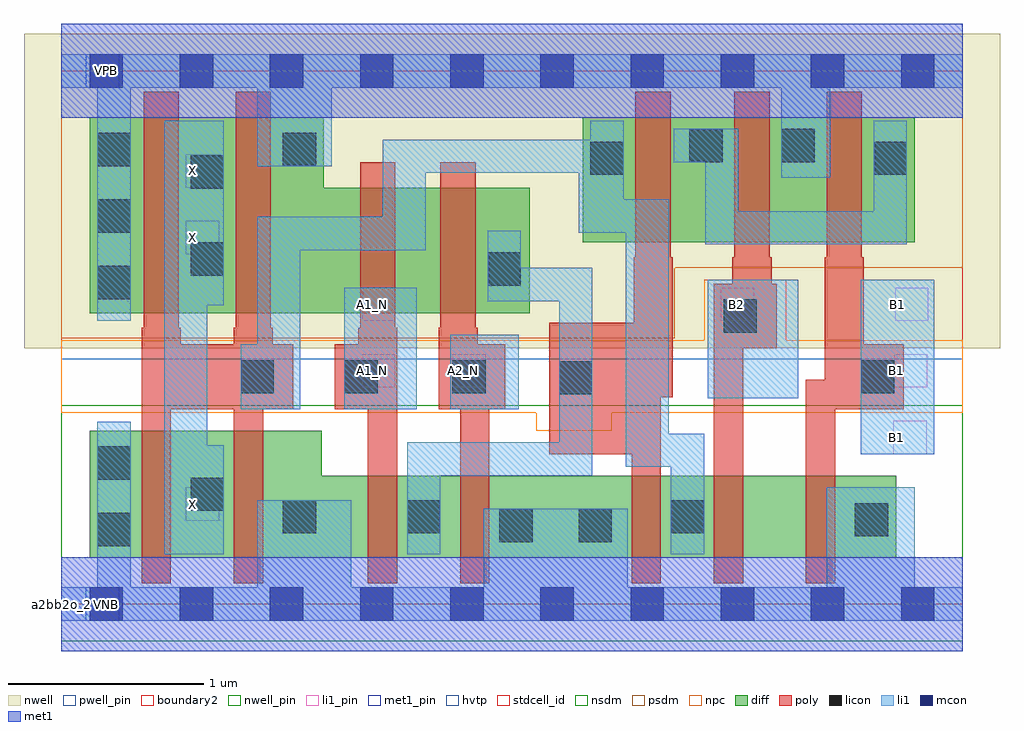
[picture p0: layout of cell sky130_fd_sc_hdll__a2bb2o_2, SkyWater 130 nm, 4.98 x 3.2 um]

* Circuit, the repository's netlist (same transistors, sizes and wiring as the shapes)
* Copyright 2020 The SkyWater PDK Authors
*
* Licensed under the Apache License, Version 2.0 (the "License");
* you may not use this file except in compliance with the License.
* You may obtain a copy of the License at
*
*     https://www.apache.org/licenses/LICENSE-2.0
*
* Unless required by applicable law or agreed to in writing, software
* distributed under the License is distributed on an "AS IS" BASIS,
* WITHOUT WARRANTIES OR CONDITIONS OF ANY KIND, either express or implied.
* See the License for the specific language governing permissions and
* limitations under the License.
*
* SPDX-License-Identifier: Apache-2.0

.SUBCKT sky130_fd_sc_hdll__a2bb2o_2 A1_N A2_N B1 B2 VGND VNB VPB VPWR X
*.PININFO A1_N:I A2_N:I B1:I B2:I VGND:I VNB:I VPB:I VPWR:I X:O
MMIN2 X y VGND VNB sky130_fd_pr__nfet_01v8 m=2 w=0.65U l=0.15U mult=1 sa=0.265
+ sb=0.265 sd=0.28 area=0.063 perim=1.14
MMNnor0 inor A1_N VGND VNB sky130_fd_pr__nfet_01v8 m=1 w=0.42U l=0.15U mult=1 sa=0.265
+ sb=0.265 sd=0.28 area=0.063 perim=1.14
MMNnor1 inor A2_N VGND VNB sky130_fd_pr__nfet_01v8 m=1 w=0.42U l=0.15U mult=1 sa=0.265
+ sb=0.265 sd=0.28 area=0.063 perim=1.14
MMNaoi10 VGND B1 sndNB1 VNB sky130_fd_pr__nfet_01v8 m=1 w=0.42U l=0.15U mult=1
+ sa=0.265 sb=0.265 sd=0.28 area=0.063 perim=1.14
MMNaoi11 sndNB1 B2 y VNB sky130_fd_pr__nfet_01v8 m=1 w=0.42U l=0.15U mult=1 sa=0.265
+ sb=0.265 sd=0.28 area=0.063 perim=1.14
MMNaoi20 y inor VGND VNB sky130_fd_pr__nfet_01v8 m=1 w=0.42U l=0.15U mult=1 sa=0.265
+ sb=0.265 sd=0.28 area=0.063 perim=1.14
MMPaoi20 y inor pmid VPB sky130_fd_pr__pfet_01v8_hvt m=1 w=0.64U l=0.18U mult=1
+ sa=0.265 sb=0.265 sd=0.28 area=0.063 perim=1.14
MMIP2 X y VPWR VPB sky130_fd_pr__pfet_01v8_hvt m=2 w=1.0U l=0.18U mult=1 sa=0.265
+ sb=0.265 sd=0.28 area=0.063 perim=1.14
MMPnor0 VPWR A1_N sndPA1N VPB sky130_fd_pr__pfet_01v8_hvt m=1 w=0.64U l=0.18U mult=1
+ sa=0.265 sb=0.265 sd=0.28 area=0.063 perim=1.14
MMPnor1 sndPA1N A2_N inor VPB sky130_fd_pr__pfet_01v8_hvt m=1 w=0.64U l=0.18U mult=1
+ sa=0.265 sb=0.265 sd=0.28 area=0.063 perim=1.14
MMPaoi10 pmid B1 VPWR VPB sky130_fd_pr__pfet_01v8_hvt m=1 w=0.64U l=0.18U mult=1
+ sa=0.265 sb=0.265 sd=0.28 area=0.063 perim=1.14
MMPaoi11 pmid B2 VPWR VPB sky130_fd_pr__pfet_01v8_hvt m=1 w=0.64U l=0.18U mult=1
+ sa=0.265 sb=0.265 sd=0.28 area=0.063 perim=1.14
.ENDS sky130_fd_sc_hdll__a2bb2o_2

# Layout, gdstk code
import gdstk
lib = gdstk.Library(unit=1e-6, precision=1e-09)
def R(c, l, rs):  # rectangles x0, y0, x1, y1
    for r in rs: c.add(gdstk.rectangle(r[:2], r[2:], *l))
def A(c, l, x, y, w, h, nx, ny, dx, dy):  # array of equal rectangles
    R(c, l, [(x+i*dx, y+j*dy, x+i*dx+w, y+j*dy+h) for i in range(nx) for j in range(ny)])
def P(c, l, *ps):  # polygons
    for p in ps: c.add(gdstk.Polygon(p, *l))
nwell_pin = (64, 16)
nwell = (64, 20)
diff = (65, 20)
poly = (66, 20)
licon = (66, 44)
li1_pin = (67, 16)
li1 = (67, 20)
mcon = (67, 44)
met1_pin = (68, 16)
met1 = (68, 20)
hvtp = (78, 44)
stdcell_id = (81, 4)
nsdm = (93, 44)
psdm = (94, 20)
npc = (95, 20)
pwell_pin = (122, 16)
boundary2 = (236, 0)

sky130_fd_sc_hdll__a2bb2 = lib.new_cell('sky130_fd_sc_hdll__a2bb2o_2')
R(sky130_fd_sc_hdll__a2bb2, nwell_pin, [(0.125,2.635,0.295,2.805)])
R(sky130_fd_sc_hdll__a2bb2, nwell, [(-0.19,1.305,4.79,2.91)])
R(sky130_fd_sc_hdll__a2bb2, diff, [(2.66,1.845,4.355,2.485)])
P(sky130_fd_sc_hdll__a2bb2, diff, [(2.39,2.125),(1.34,2.125),(1.34,2.485),(0.145,2.485),(0.145,1.485),(2.39,1.485)],
  [(4.26,0.655),(1.33,0.655),(1.33,0.885),(0.145,0.885),(0.145,0.235),(4.26,0.235)])
P(sky130_fd_sc_hdll__a2bb2, poly, [(1.185,1.325),(1.08,1.325),(1.08,1.41),(1.07,1.41),(1.07,2.615),(0.89,2.615),(0.89,1.41),(0.88,1.41),(0.88,1.325),(0.61,1.325),(0.61,1.41),(0.6,1.41),(0.6,2.615),(0.42,2.615),(0.42,1.41),(0.41,1.41),(0.41,0.105),(0.56,0.105),(0.56,0.995),(0.88,0.995),(0.88,0.105),(1.03,0.105),(1.03,0.995),(1.185,0.995)],
  [(1.715,1.41),(1.705,1.41),(1.705,2.255),(1.525,2.255),(1.525,1.41),(1.515,1.41),(1.515,1.325),(1.395,1.325),(1.395,0.995),(1.565,0.995),(1.565,0.105),(1.715,0.105)],
  [(2.265,1.325),(2.125,1.325),(2.125,1.41),(2.115,1.41),(2.115,2.255),(1.935,2.255),(1.935,1.41),(1.925,1.41),(1.925,0.995),(2.035,0.995),(2.035,0.105),(2.185,0.105),(2.185,0.995),(2.265,0.995)],
  [(3.12,1.77),(3.11,1.77),(3.11,2.615),(2.93,2.615),(2.93,1.77),(2.92,1.77),(2.92,1.435),(2.49,1.435),(2.49,0.765),(2.91,0.765),(2.91,0.105),(3.06,0.105),(3.06,1.055),(3.12,1.055)],
  [(3.65,1.635),(3.625,1.635),(3.625,1.77),(3.615,1.77),(3.615,2.615),(3.435,2.615),(3.435,1.77),(3.425,1.77),(3.425,1.635),(3.33,1.635),(3.33,0.105),(3.48,0.105),(3.48,1.305),(3.65,1.305)],
  [(4.3,1.325),(4.095,1.325),(4.095,1.77),(4.085,1.77),(4.085,2.615),(3.905,2.615),(3.905,1.77),(3.895,1.77),(3.895,1.145),(3.8,1.145),(3.8,0.105),(3.95,0.105),(3.95,0.995),(4.3,0.995)])
A(sky130_fd_sc_hdll__a2bb2, licon, 0.185, 1.555, 0.17, 0.17, 1, 3, 0, 0.34)
R(sky130_fd_sc_hdll__a2bb2, licon, [(0.185,0.295,0.355,0.465), (2.235,0.315,2.405,0.485), (2.64,0.315,2.81,0.485), (4.05,0.345,4.22,0.515), (1.13,0.36,1.3,0.53), (1.765,0.36,1.935,0.53), (3.11,0.36,3.28,0.53), (0.66,0.475,0.83,0.645), (0.185,0.635,0.355,0.805), (2.54,1.07,2.71,1.24), (0.915,1.075,1.085,1.245), (1.445,1.075,1.615,1.245), (1.995,1.075,2.165,1.245), (4.08,1.075,4.25,1.245), (3.38,1.385,3.55,1.555), (2.175,1.625,2.345,1.795), (0.66,1.675,0.83,1.845), (0.66,2.12,0.83,2.29), (2.7,2.19,2.87,2.36), (4.145,2.19,4.315,2.36), (1.13,2.235,1.3,2.405), (3.205,2.255,3.375,2.425), (3.675,2.255,3.845,2.425)])
R(sky130_fd_sc_hdll__a2bb2, li1_pin, [(0.125,-0.085,0.295,0.085), (0.635,0.425,0.805,0.595), (4.245,0.765,4.415,0.935), (1.535,1.105,1.705,1.275), (1.995,1.105,2.165,1.275), (4.25,1.105,4.42,1.275), (1.535,1.445,1.705,1.615), (3.365,1.445,3.535,1.615), (4.255,1.445,4.425,1.615), (0.635,1.785,0.805,1.955), (0.635,2.125,0.805,2.295), (0.125,2.635,0.295,2.805)])
R(sky130_fd_sc_hdll__a2bb2, li1, [(4.08,0.765,4.455,1.655), (1.445,0.995,1.815,1.615), (1.985,0.995,2.335,1.375), (3.3,1.05,3.76,1.655)])
P(sky130_fd_sc_hdll__a2bb2, li1, [(4.6,0.085),(4.355,0.085),(4.355,0.595),(3.905,0.595),(3.905,0.085),(2.89,0.085),(2.89,0.485),(2.155,0.485),(2.155,0.085),(1.48,0.085),(1.48,0.53),(1,0.53),(1,0.085),(0.355,0.085),(0.355,0.93),(0.185,0.93),(0.185,0.085),(0,0.085),(0,-0.085),(4.6,-0.085)],
  [(4.6,2.805),(0,2.805),(0,2.635),(0.185,2.635),(0.185,1.445),(0.355,1.445),(0.355,2.635),(1,2.635),(1,2.235),(1.38,2.235),(1.38,2.635),(3.675,2.635),(3.675,2.175),(3.925,2.175),(3.925,2.635),(4.6,2.635)],
  [(4.315,2.465),(4.145,2.465),(4.145,2.005),(3.455,2.005),(3.455,2.425),(3.125,2.425),(3.125,2.255),(3.285,2.255),(3.285,1.835),(4.315,1.835)],
  [(3.28,0.87),(3.1,0.87),(3.1,2.065),(2.87,2.065),(2.87,2.465),(2.7,2.465),(2.7,2.37),(1.64,2.37),(1.64,1.975),(1,1.975),(1,1.325),(0.915,1.325),(0.915,0.995),(1.22,0.995),(1.22,1.805),(1.86,1.805),(1.86,2.2),(2.64,2.2),(2.64,1.895),(2.88,1.895),(2.88,0.7),(3.11,0.7),(3.11,0.255),(3.28,0.255)],
  [(2.71,1.715),(2.345,1.715),(2.345,1.905),(2.175,1.905),(2.175,1.545),(2.54,1.545),(2.54,0.825),(1.765,0.825),(1.765,0.255),(1.935,0.255),(1.935,0.655),(2.71,0.655)],
  [(0.83,0.81),(0.745,0.81),(0.745,1.525),(0.83,1.525),(0.83,2.465),(0.525,2.465),(0.525,0.255),(0.83,0.255)])
A(sky130_fd_sc_hdll__a2bb2, mcon, 0.145, -0.085, 0.17, 0.17, 10, 2, 0.46, 2.72)
R(sky130_fd_sc_hdll__a2bb2, met1_pin, [(0.125,-0.085,0.295,0.085), (0.125,2.635,0.295,2.805)])
R(sky130_fd_sc_hdll__a2bb2, met1, [(0,-0.24,4.6,0.24), (0,2.48,4.6,2.96)])
R(sky130_fd_sc_hdll__a2bb2, hvtp, [(0,1.25,4.6,2.72)])
R(sky130_fd_sc_hdll__a2bb2, stdcell_id, [(0,0,4.6,2.72)])
R(sky130_fd_sc_hdll__a2bb2, nsdm, [(0,-0.19,4.6,1.015)])
P(sky130_fd_sc_hdll__a2bb2, psdm, [(4.6,2.91),(0,2.91),(0,1.355),(3.13,1.355),(3.13,1.715),(4.6,1.715)])
P(sky130_fd_sc_hdll__a2bb2, npc, [(4.6,1.345),(3.7,1.345),(3.7,1.655),(3.28,1.655),(3.28,1.345),(0,1.345),(0,0.975),(2.425,0.975),(2.425,0.885),(2.81,0.885),(2.81,0.975),(4.6,0.975)])
R(sky130_fd_sc_hdll__a2bb2, pwell_pin, [(0.125,-0.085,0.295,0.085)])
R(sky130_fd_sc_hdll__a2bb2, boundary2, [(0,0,4.6,2.72)])
sky130_fd_sc_hdll__a2bb2.add(gdstk.Label('VNB', (0.23,0), layer=64, texttype=59))
sky130_fd_sc_hdll__a2bb2.add(gdstk.Label('VPB', (0.23,2.72), layer=64, texttype=5))
sky130_fd_sc_hdll__a2bb2.add(gdstk.Label('VGND', (0.23,0), layer=68, texttype=5))
sky130_fd_sc_hdll__a2bb2.add(gdstk.Label('VPWR', (0.23,2.72), layer=68, texttype=5))
sky130_fd_sc_hdll__a2bb2.add(gdstk.Label('VPWR', (0.23,2.72), layer=67, texttype=5))
sky130_fd_sc_hdll__a2bb2.add(gdstk.Label('VGND', (0.23,0), layer=67, texttype=5))
sky130_fd_sc_hdll__a2bb2.add(gdstk.Label('B1', (4.26,1.19), layer=67, texttype=5))
sky130_fd_sc_hdll__a2bb2.add(gdstk.Label('B1', (4.265,1.53), layer=67, texttype=5))
sky130_fd_sc_hdll__a2bb2.add(gdstk.Label('B1', (4.26,0.85), layer=67, texttype=5))
sky130_fd_sc_hdll__a2bb2.add(gdstk.Label('A1_N', (1.59,1.19), layer=67, texttype=5))
sky130_fd_sc_hdll__a2bb2.add(gdstk.Label('A2_N', (2.05,1.19), layer=67, texttype=5))
sky130_fd_sc_hdll__a2bb2.add(gdstk.Label('X', (0.67,0.51), layer=67, texttype=5))
sky130_fd_sc_hdll__a2bb2.add(gdstk.Label('B2', (3.445,1.53), layer=67, texttype=5))
sky130_fd_sc_hdll__a2bb2.add(gdstk.Label('A1_N', (1.59,1.53), layer=67, texttype=5))
sky130_fd_sc_hdll__a2bb2.add(gdstk.Label('X', (0.67,2.21), layer=67, texttype=5))
sky130_fd_sc_hdll__a2bb2.add(gdstk.Label('X', (0.67,1.87), layer=67, texttype=5))
sky130_fd_sc_hdll__a2bb2.add(gdstk.Label('a2bb2o_2', (0,0), layer=83, texttype=44))

lib.write_gds('sky130_fd_sc_hdll__a2bb2o_2.gds')
